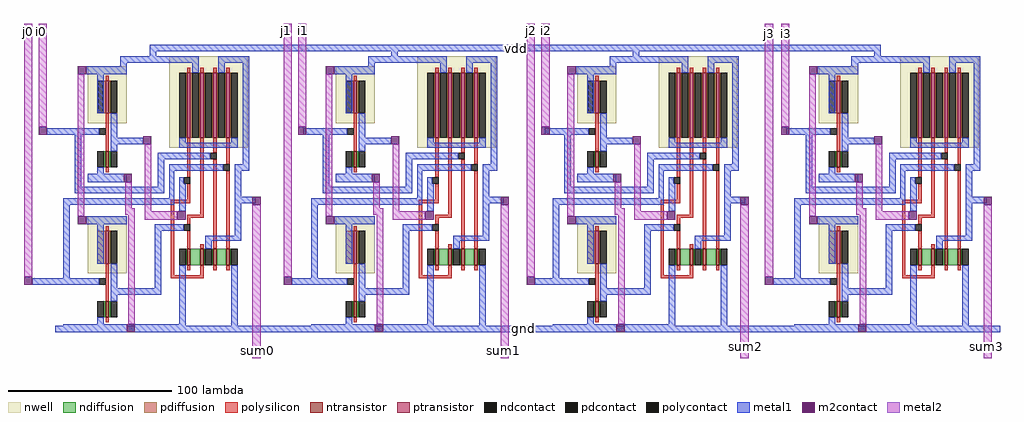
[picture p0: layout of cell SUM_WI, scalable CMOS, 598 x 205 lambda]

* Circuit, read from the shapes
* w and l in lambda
.subckt SUM_WI gnd i0 i1 i2 i3 j0 j1 j2 j3 sum0 sum1 sum2 sum3 vdd
M1 n1 j0 gnd VSUBS nfet w=10 l=2
M2 n2 i0 gnd VSUBS nfet w=10 l=2
M3 n3 n1 gnd VSUBS nfet w=10 l=2
M4 sum0 n2 n3 VSUBS nfet w=10 l=2
M5 n4 i0 sum0 VSUBS nfet w=10 l=2
M6 gnd j0 n4 VSUBS nfet w=10 l=2
M7 n5 j1 gnd VSUBS nfet w=10 l=2
M8 n6 i1 gnd VSUBS nfet w=10 l=2
M9 n7 n5 gnd VSUBS nfet w=10 l=2
M10 sum1 n6 n7 VSUBS nfet w=10 l=2
M11 n8 i1 sum1 VSUBS nfet w=10 l=2
M12 gnd j1 n8 VSUBS nfet w=10 l=2
M13 n9 j2 gnd VSUBS nfet w=10 l=2
M14 n10 i2 gnd VSUBS nfet w=10 l=2
M15 n11 n9 gnd VSUBS nfet w=10 l=2
M16 sum2 n10 n11 VSUBS nfet w=10 l=2
M17 n12 i2 sum2 VSUBS nfet w=10 l=2
M18 gnd j2 n12 VSUBS nfet w=10 l=2
M19 n13 j3 gnd VSUBS nfet w=10 l=2
M20 n14 i3 gnd VSUBS nfet w=10 l=2
M21 n15 n13 gnd VSUBS nfet w=10 l=2
M22 sum3 n14 n15 VSUBS nfet w=10 l=2
M23 n16 i3 sum3 VSUBS nfet w=10 l=2
M24 gnd j3 n16 VSUBS nfet w=10 l=2
M25 n1 j0 n17 n18 pfet w=20 l=2
M26 n2 i0 vdd n19 pfet w=20 l=2
M27 vdd n2 n20 n21 pfet w=40 l=2
M28 n22 n1 vdd n21 pfet w=40 l=2
M29 sum0 i0 n22 n21 pfet w=40 l=2
M30 n20 j0 sum0 n21 pfet w=40 l=2
M31 n5 j1 n23 n24 pfet w=20 l=2
M32 n6 i1 vdd n25 pfet w=20 l=2
M33 vdd n6 n26 n27 pfet w=40 l=2
M34 n28 n5 vdd n27 pfet w=40 l=2
M35 sum1 i1 n28 n27 pfet w=40 l=2
M36 n26 j1 sum1 n27 pfet w=40 l=2
M37 n9 j2 n29 n30 pfet w=20 l=2
M38 n10 i2 vdd n31 pfet w=20 l=2
M39 vdd n10 n32 n33 pfet w=40 l=2
M40 n34 n9 vdd n33 pfet w=40 l=2
M41 sum2 i2 n34 n33 pfet w=40 l=2
M42 n32 j2 sum2 n33 pfet w=40 l=2
M43 n13 j3 n35 n36 pfet w=20 l=2
M44 n14 i3 vdd n37 pfet w=20 l=2
M45 vdd n14 n38 n39 pfet w=40 l=2
M46 n40 n13 vdd n39 pfet w=40 l=2
M47 sum3 i3 n40 n39 pfet w=40 l=2
M48 n38 j3 sum3 n39 pfet w=40 l=2
.ends

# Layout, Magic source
magic
tech scmos
<< metal1 >>
rect 58 172 506 176
rect 58 165 62 172
rect 206 165 210 172
rect 354 165 358 172
rect 502 165 506 172
rect -5 121 3 125
rect 154 121 156 125
rect 303 121 314 125
rect 450 121 462 125
rect 559 79 569 83
rect -14 29 0 33
rect 145 29 154 33
rect 294 29 318 33
rect 440 29 467 33
rect 0 0 579 4
<< m2contact >>
rect -10 121 -5 126
rect 149 121 154 126
rect 298 121 303 126
rect 445 121 450 126
rect 121 78 126 83
rect 273 78 278 83
rect 420 78 425 83
rect 569 78 574 83
rect -19 29 -14 34
rect 140 29 145 34
rect 289 29 294 34
rect 435 29 440 34
<< metal2 >>
rect -19 34 -14 189
rect -10 126 -5 189
rect 121 -16 126 78
rect 140 34 145 189
rect 149 126 154 189
rect 273 -16 278 78
rect 289 34 294 189
rect 298 126 303 189
rect 420 -16 425 78
rect 435 34 440 189
rect 445 126 450 189
rect 569 -16 574 78
use XOR_WO  XOR_WO_0
transform 1 0 20 0 1 92
box -20 -92 103 77
use XOR_WO  XOR_WO_1
transform 1 0 172 0 1 92
box -20 -92 103 77
use XOR_WO  XOR_WO_2
transform 1 0 320 0 1 92
box -20 -92 103 77
use XOR_WO  XOR_WO_3
transform 1 0 468 0 1 92
box -20 -92 103 77
<< labels >>
rlabel metal2 124 -11 124 -11 1 sum0
rlabel metal2 275 -11 275 -11 1 sum1
rlabel metal2 -8 184 -8 184 5 i0
rlabel metal2 -16 184 -16 184 4 j0
rlabel metal2 152 185 152 185 5 i1
rlabel metal2 142 185 142 185 5 j1
rlabel metal2 438 183 438 183 1 j3
rlabel metal2 448 183 448 183 1 i3
rlabel metal2 292 185 292 185 5 j2
rlabel metal2 301 185 301 185 5 i2
rlabel metal2 571 -9 571 -9 1 sum3
rlabel metal2 423 -9 423 -9 1 sum2
rlabel metal1 283 174 283 174 1 vdd
rlabel metal1 287 2 287 2 1 gnd
<< end >>

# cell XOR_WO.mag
magic
tech scmos
<< nwell >>
rect 50 21 98 77
<< ntransistor >>
rect 61 -51 63 -41
rect 69 -51 71 -41
rect 77 -51 79 -41
rect 85 -51 87 -41
<< ptransistor >>
rect 61 27 63 67
rect 69 27 71 67
rect 77 27 79 67
rect 85 27 87 67
<< ndiffusion >>
rect 60 -51 61 -41
rect 63 -51 69 -41
rect 71 -51 72 -41
rect 76 -51 77 -41
rect 79 -51 85 -41
rect 87 -51 88 -41
<< pdiffusion >>
rect 60 27 61 67
rect 63 27 64 67
rect 68 27 69 67
rect 71 27 72 67
rect 76 27 77 67
rect 79 27 80 67
rect 84 27 85 67
rect 87 27 88 67
<< ndcontact >>
rect 56 -51 60 -41
rect 72 -51 76 -41
rect 88 -51 92 -41
<< pdcontact >>
rect 6 42 10 62
rect 56 27 60 67
rect 64 27 68 67
rect 72 27 76 67
rect 80 27 84 67
rect 88 27 92 67
<< polysilicon >>
rect 61 67 63 70
rect 69 67 71 70
rect 77 67 79 70
rect 85 67 87 70
rect 61 3 63 27
rect 61 -11 63 -1
rect 51 -13 63 -11
rect 51 -57 53 -13
rect 69 -20 71 27
rect 77 18 79 27
rect 61 -22 71 -20
rect 61 -26 63 -22
rect 61 -41 63 -30
rect 69 -41 71 -38
rect 77 -41 79 14
rect 85 11 87 27
rect 85 -41 87 7
rect 61 -54 63 -51
rect 69 -57 71 -51
rect 77 -54 79 -51
rect 85 -54 87 -51
rect 51 -59 71 -57
<< polycontact >>
rect 59 -1 63 3
rect 75 14 79 18
rect 59 -30 63 -26
rect 83 7 87 11
<< metal1 >>
rect 20 73 68 77
rect 20 71 24 73
rect -1 66 24 71
rect 64 67 68 73
rect 80 73 99 77
rect 80 67 84 73
rect -20 29 6 33
rect -8 -3 -4 29
rect 21 23 34 27
rect 56 24 60 27
rect 88 24 92 27
rect 56 21 92 24
rect 43 14 75 18
rect 43 -3 47 14
rect 95 11 99 73
rect -8 -7 47 -3
rect 50 7 83 11
rect 90 7 99 11
rect 50 -10 53 7
rect -15 -14 53 -10
rect 56 -1 59 3
rect -15 -59 -11 -14
rect 56 -18 60 -1
rect -1 -26 24 -21
rect 90 -9 94 7
rect 90 -13 103 -9
rect 41 -30 59 -26
rect -20 -63 5 -59
rect 41 -65 45 -30
rect 90 -33 94 -13
rect 72 -36 94 -33
rect 72 -41 76 -36
rect 18 -69 45 -65
rect 56 -87 60 -51
rect -15 -92 24 -87
rect 29 -88 60 -87
rect 88 -88 92 -51
rect 29 -92 92 -88
<< m2contact >>
rect -6 66 -1 71
rect 34 23 39 28
rect 22 0 27 5
rect -6 -26 -1 -21
rect 55 -23 60 -18
rect 24 -92 29 -87
<< metal2 >>
rect -6 -21 -2 66
rect 23 -16 27 0
rect 23 -20 29 -16
rect 25 -87 29 -20
rect 35 -18 39 23
rect 35 -23 55 -18
use 2INV  2INV_0
transform 1 0 0 0 1 -45
box 0 45 24 116
use 2INV  2INV_1
transform 1 0 0 0 1 -137
box 0 45 24 116
<< end >>

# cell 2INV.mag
magic
tech scmos
<< nwell >>
rect 0 81 24 116
<< ntransistor >>
rect 11 54 13 64
<< ptransistor >>
rect 11 87 13 107
<< ndiffusion >>
rect 10 54 11 64
rect 13 54 14 64
<< pdiffusion >>
rect 6 87 11 107
rect 13 87 14 107
<< ndcontact >>
rect 6 54 10 64
rect 14 54 18 64
<< pdcontact >>
rect 14 87 18 107
<< polysilicon >>
rect 11 107 13 110
rect 11 64 13 87
rect 11 51 13 54
<< polycontact >>
rect 7 74 11 78
<< metal1 >>
rect 0 111 24 116
rect 6 87 10 111
rect 0 74 7 78
rect 14 72 18 87
rect 14 68 24 72
rect 14 64 18 68
rect 6 50 10 54
rect 0 45 24 50
<< end >>
